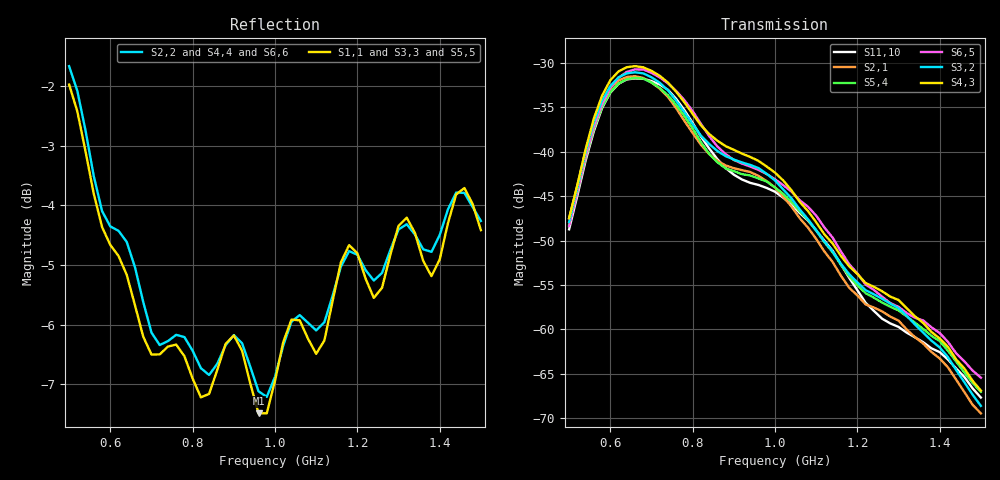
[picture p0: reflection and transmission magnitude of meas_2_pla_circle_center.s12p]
! Converted from meas_2_pla_circle_center.mat
! MATLAB 5.0 MAT-file, Platform: PCWIN64, Created on: Sat Nov 21 15:03:40 2026
! Ports 1-12 = antennas 1-12; IFBW=1000 Hz, power=0 dBm, doCalibration flag=0
! SW_A serial 12410080206: antennas 1 3 5 7 9 11
! SW_B serial 12410080235: antennas 2 4 6 8 10 12
! WARNING: Sij (i!=j) between two odd or two even ports was NOT MEASURED (NaN in source).
! Those entries are written as 0 0 placeholders. Do not treat them as data.
! Reference impedance 50 ohm is assumed (not stored in source).
# Hz S RI R 50
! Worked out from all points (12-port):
!   51 points, 500 MHz to 1.5 GHz, reference 50 ohm
!   strongest paths, dB at 500 MHz, 740 MHz, 1 GHz, 1.26 GHz, 1.5 GHz:
!     S4,3: -47.5, -32.2, -42.4, -55.7, -66.9
!     S3,2: -47.9, -33.1, -43.3, -56.5, -68.6
!     S6,5: -48.4, -32.3, -43.1, -56.3, -65.4
!     S5,4: -48.2, -33.7, -44.0, -57.0, -67.0
!     S2,1: -47.5, -33.9, -44.0, -58.0, -69.4
!     S11,10: -48.7, -33.1, -44.5, -58.8, -67.7
!   lowest |S11| = -7.5 dB at 960 MHz (marker M1), VSWR 2.46, Z = 24.3 - j20 ohm
!   |S11| at or under -10 dB: nowhere
